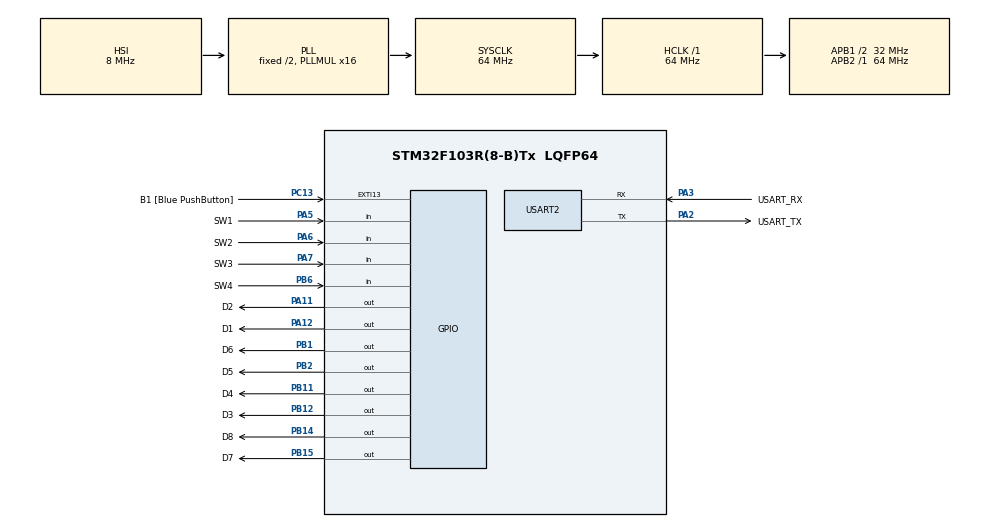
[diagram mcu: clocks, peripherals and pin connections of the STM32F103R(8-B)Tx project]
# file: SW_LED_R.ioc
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Mcu.Family=STM32F1
Mcu.Name=STM32F103R(8-B)Tx
Mcu.Package=LQFP64
NVIC.EXTI15_10_IRQn=true\:0\:0\:false\:false\:true\:true\:true\:true
NVIC.PriorityGroup=NVIC_PRIORITYGROUP_4
PA11.GPIO_Label=D2
PA11.Signal=GPIO_Output
PA12.GPIO_Label=D1
PA12.Signal=GPIO_Output
PA13.GPIO_Label=TMS
PA13.Mode=Serial_Wire
PA13.Signal=SYS_JTMS-SWDIO
PA14.GPIO_Label=TCK
PA14.Mode=Serial_Wire
PA14.Signal=SYS_JTCK-SWCLK
PA2.GPIO_Label=USART_TX
PA2.GPIO_Mode=GPIO_MODE_AF_PP
PA2.GPIO_PuPd=GPIO_NOPULL
PA2.GPIO_Speed=GPIO_SPEED_FREQ_LOW
PA2.Mode=Asynchronous
PA2.Signal=USART2_TX
PA3.GPIO_Label=USART_RX
PA3.GPIO_Mode=GPIO_MODE_AF_PP
PA3.GPIO_PuPd=GPIO_NOPULL
PA3.GPIO_Speed=GPIO_SPEED_FREQ_LOW
PA3.Mode=Asynchronous
PA3.Signal=USART2_RX
PA5.GPIO_Label=SW1
PA5.Signal=GPIO_Input
PA6.GPIO_Label=SW2
PA6.Signal=GPIO_Input
PA7.GPIO_Label=SW3
PA7.Signal=GPIO_Input
PB1.GPIO_Label=D6
PB1.Signal=GPIO_Output
PB11.GPIO_Label=D4
PB11.Signal=GPIO_Output
PB12.GPIO_Label=D3
PB12.Signal=GPIO_Output
PB14.GPIO_Label=D8
PB14.Signal=GPIO_Output
PB15.GPIO_Label=D7
PB15.Signal=GPIO_Output
PB2.GPIO_Label=D5
PB2.Signal=GPIO_Output
PB3.GPIO_Label=SWO
PB3.Signal=SYS_JTDO-TRACESWO
PB6.GPIO_Label=SW4
PB6.Signal=GPIO_Input
PC13-TAMPER-RTC.GPIO_Label=B1 [Blue PushButton]
PC13-TAMPER-RTC.GPIO_PuPd=GPIO_NOPULL
PC13-TAMPER-RTC.Signal=GPXTI13
PC14-OSC32_IN.Mode=LSE-External-Oscillator
PC14-OSC32_IN.Signal=RCC_OSC32_IN
PC15-OSC32_OUT.Mode=LSE-External-Oscillator
PC15-OSC32_OUT.Signal=RCC_OSC32_OUT
PD0-OSC_IN.Mode=HSE-External-Clock-Source
PD0-OSC_IN.Signal=RCC_OSC_IN
PD1-OSC_OUT.Mode=HSE-External-Clock-Source
PD1-OSC_OUT.Signal=RCC_OSC_OUT
ProjectManager.HeapSize=0x200
ProjectManager.StackSize=0x400
ProjectManager.TargetToolchain=STM32CubeIDE
RCC.AHBFreq_Value=64000000
RCC.APB1CLKDivider=RCC_HCLK_DIV2
RCC.APB1Freq_Value=32000000
RCC.APB1TimFreq_Value=64000000
RCC.APB2Freq_Value=64000000
RCC.APB2TimFreq_Value=64000000
RCC.HCLKFreq_Value=64000000
RCC.PLLMUL=RCC_PLL_MUL16
RCC.RTCClockSelection=RCC_RTCCLKSOURCE_LSE
RCC.SYSCLKFreq_VALUE=64000000
RCC.SYSCLKSource=RCC_SYSCLKSOURCE_PLLCLK
RCC.USBFreq_Value=64000000
USART2.VirtualMode=VM_ASYNC
board=NUCLEO-F103RB

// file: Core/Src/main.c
/* USER CODE BEGIN Header */
/**
  ******************************************************************************
  * @file           : main.c
  * @brief          : Main program body
  ******************************************************************************
  * @attention
  *
  * Copyright (c) 2022 STMicroelectronics.
  * All rights reserved.
  *
  * This software is licensed under terms that can be found in the LICENSE file
  * in the root directory of this software component.
  * If no LICENSE file comes with this software, it is provided AS-IS.
  *
  ******************************************************************************
  */
/* USER CODE END Header */
#include "main.h"
#include <stdlib.h>

 UART_HandleTypeDef huart2;

void SystemClock_Config(void);
static void MX_GPIO_Init(void);
static void MX_USART2_UART_Init(void);

/* USER CODE BEGIN 0 */
typedef struct led_t led_t;
   struct led_t {
     GPIO_TypeDef *port;
     int pin;
 };

led_t led[8]={
		{GPIOA, D1_Pin},
		{GPIOA, D2_Pin},
		{GPIOB, D3_Pin},
		{GPIOB, D4_Pin},
		{GPIOB, D5_Pin},
		{GPIOB, D6_Pin},
		{GPIOB, D7_Pin},
		{GPIOB, D8_Pin}
};
void led_all_off(){
	for(int i=0; i <8; i++)
	 HAL_GPIO_WritePin(led[i].port, led[i].pin, RESET);
}
void check(int n){
	int random[n];
	for(int i=0; i<n; i++){
		random[i] =rand()%8;
		for(int j=0; j<i; j++){
			if(random[i]==random[j]){
				i--;
			}
		}
	}

	for(int i=0; i <n; i++){
		HAL_GPIO_WritePin(led[random[i]].port, led[random[i]].pin, SET);
	}
	HAL_Delay(500);
	led_all_off();
}
/* USER CODE END 0 */

int main(void)
{

  /* MCU Configuration--------------------------------------------------------*/

  /* Reset of all peripherals, Initializes the Flash interface and the Systick. */
  HAL_Init();

  /* Configure the system clock */
  SystemClock_Config();

  /* Initialize all configured peripherals */
  MX_GPIO_Init();
  MX_USART2_UART_Init();

  /* Infinite loop */
  /* USER CODE BEGIN WHILE */
  while (1)
  {
	  if(HAL_GPIO_ReadPin(GPIOA, SW1_Pin)){
	  		  check(2);
	  	  }
	  if(HAL_GPIO_ReadPin(GPIOA, SW2_Pin)){
	  	  check(3);
	  }
	  if(HAL_GPIO_ReadPin(GPIOA, SW3_Pin)){
	  	check(4);
	}
    /* USER CODE END WHILE */

  }
}

void SystemClock_Config(void)
{
  RCC_OscInitTypeDef RCC_OscInitStruct = {0};
  RCC_ClkInitTypeDef RCC_ClkInitStruct = {0};

  /** Initializes the RCC Oscillators according to the specified parameters
  * in the RCC_OscInitTypeDef structure.
  */
  RCC_OscInitStruct.OscillatorType = RCC_OSCILLATORTYPE_HSI;
  RCC_OscInitStruct.HSIState = RCC_HSI_ON;
  RCC_OscInitStruct.HSICalibrationValue = RCC_HSICALIBRATION_DEFAULT;
  RCC_OscInitStruct.PLL.PLLState = RCC_PLL_ON;
  RCC_OscInitStruct.PLL.PLLSource = RCC_PLLSOURCE_HSI_DIV2;
  RCC_OscInitStruct.PLL.PLLMUL = RCC_PLL_MUL16;
  if (HAL_RCC_OscConfig(&RCC_OscInitStruct) != HAL_OK)
  {
    Error_Handler();
  }

  /** Initializes the CPU, AHB and APB buses clocks
  */
  RCC_ClkInitStruct.ClockType = RCC_CLOCKTYPE_HCLK|RCC_CLOCKTYPE_SYSCLK
                              |RCC_CLOCKTYPE_PCLK1|RCC_CLOCKTYPE_PCLK2;
  RCC_ClkInitStruct.SYSCLKSource = RCC_SYSCLKSOURCE_PLLCLK;
  RCC_ClkInitStruct.AHBCLKDivider = RCC_SYSCLK_DIV1;
  RCC_ClkInitStruct.APB1CLKDivider = RCC_HCLK_DIV2;
  RCC_ClkInitStruct.APB2CLKDivider = RCC_HCLK_DIV1;

  if (HAL_RCC_ClockConfig(&RCC_ClkInitStruct, FLASH_LATENCY_2) != HAL_OK)
  {
    Error_Handler();
  }
}

static void MX_USART2_UART_Init(void)
{

  huart2.Instance = USART2;
  huart2.Init.BaudRate = 115200;
  huart2.Init.WordLength = UART_WORDLENGTH_8B;
  huart2.Init.StopBits = UART_STOPBITS_1;
  huart2.Init.Parity = UART_PARITY_NONE;
  huart2.Init.Mode = UART_MODE_TX_RX;
  huart2.Init.HwFlowCtl = UART_HWCONTROL_NONE;
  huart2.Init.OverSampling = UART_OVERSAMPLING_16;
  if (HAL_UART_Init(&huart2) != HAL_OK)
  {
    Error_Handler();
  }

}

static void MX_GPIO_Init(void)
{
  GPIO_InitTypeDef GPIO_InitStruct = {0};

  /* GPIO Ports Clock Enable */
  __HAL_RCC_GPIOC_CLK_ENABLE();
  __HAL_RCC_GPIOD_CLK_ENABLE();
  __HAL_RCC_GPIOA_CLK_ENABLE();
  __HAL_RCC_GPIOB_CLK_ENABLE();

  /*Configure GPIO pin Output Level */
  HAL_GPIO_WritePin(GPIOB, D6_Pin|D5_Pin|D4_Pin|D3_Pin
                          |D8_Pin|D7_Pin, GPIO_PIN_RESET);

  /*Configure GPIO pin Output Level */
  HAL_GPIO_WritePin(GPIOA, D2_Pin|D1_Pin, GPIO_PIN_RESET);

  /*Configure GPIO pin : B1_Pin */
  GPIO_InitStruct.Pin = B1_Pin;
  GPIO_InitStruct.Mode = GPIO_MODE_IT_RISING;
  GPIO_InitStruct.Pull = GPIO_NOPULL;
  HAL_GPIO_Init(B1_GPIO_Port, &GPIO_InitStruct);

  /*Configure GPIO pins : SW1_Pin SW2_Pin SW3_Pin */
  GPIO_InitStruct.Pin = SW1_Pin|SW2_Pin|SW3_Pin;
  GPIO_InitStruct.Mode = GPIO_MODE_INPUT;
  GPIO_InitStruct.Pull = GPIO_NOPULL;
  HAL_GPIO_Init(GPIOA, &GPIO_InitStruct);

  /*Configure GPIO pins : D6_Pin D5_Pin D4_Pin D3_Pin
                           D8_Pin D7_Pin */
  GPIO_InitStruct.Pin = D6_Pin|D5_Pin|D4_Pin|D3_Pin
                          |D8_Pin|D7_Pin;
  GPIO_InitStruct.Mode = GPIO_MODE_OUTPUT_PP;
  GPIO_InitStruct.Pull = GPIO_NOPULL;
  GPIO_InitStruct.Speed = GPIO_SPEED_FREQ_LOW;
  HAL_GPIO_Init(GPIOB, &GPIO_InitStruct);

  /*Configure GPIO pins : D2_Pin D1_Pin */
  GPIO_InitStruct.Pin = D2_Pin|D1_Pin;
  GPIO_InitStruct.Mode = GPIO_MODE_OUTPUT_PP;
  GPIO_InitStruct.Pull = GPIO_NOPULL;
  GPIO_InitStruct.Speed = GPIO_SPEED_FREQ_LOW;
  HAL_GPIO_Init(GPIOA, &GPIO_InitStruct);

  /*Configure GPIO pin : SW4_Pin */
  GPIO_InitStruct.Pin = SW4_Pin;
  GPIO_InitStruct.Mode = GPIO_MODE_INPUT;
  GPIO_InitStruct.Pull = GPIO_NOPULL;
  HAL_GPIO_Init(SW4_GPIO_Port, &GPIO_InitStruct);

  /* EXTI interrupt init*/
  HAL_NVIC_SetPriority(EXTI15_10_IRQn, 0, 0);
  HAL_NVIC_EnableIRQ(EXTI15_10_IRQn);

}

void Error_Handler(void)
{
  __disable_irq();
  while (1)
  {
  }
}
